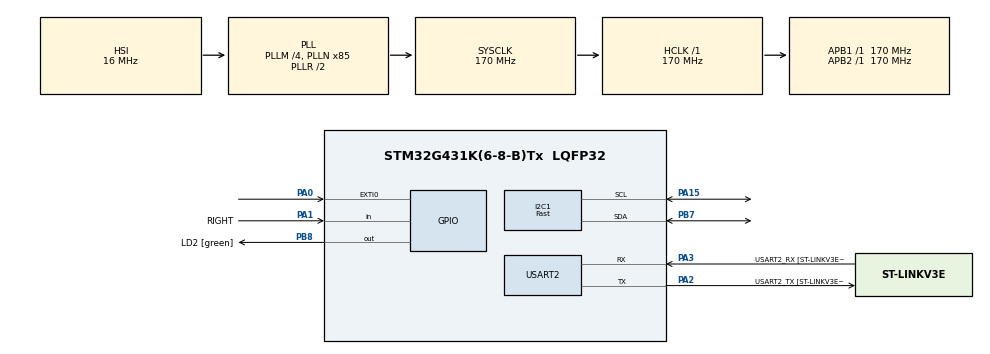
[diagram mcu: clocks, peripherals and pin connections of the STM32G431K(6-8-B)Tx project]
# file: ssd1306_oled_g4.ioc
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I2C1.I2C_Speed_Mode=I2C_Fast
I2C1.Timing=0x10802D9B
Mcu.Family=STM32G4
Mcu.Name=STM32G431K(6-8-B)Tx
Mcu.Package=LQFP32
NVIC.PriorityGroup=NVIC_PRIORITYGROUP_4
NVIC.TIM2_IRQn=true\:0\:0\:false\:false\:true\:true\:true\:true
NVIC.USART2_IRQn=true\:0\:0\:false\:false\:true\:true\:true\:true
PA0.GPIO_ModeDefaultEXTI=GPIO_MODE_IT_FALLING
PA0.GPIO_PuPd=GPIO_PULLUP
PA0.Signal=GPXTI0
PA1.GPIO_Label=RIGHT
PA1.GPIO_PuPd=GPIO_PULLUP
PA1.Signal=GPIO_Input
PA13.GPIO_Label=T_SWDIO
PA13.Mode=Serial_Wire
PA13.Signal=SYS_JTMS-SWDIO
PA14.GPIO_Label=T_SWCLK
PA14.Mode=Serial_Wire
PA14.Signal=SYS_JTCK-SWCLK
PA15.Mode=I2C
PA15.Signal=I2C1_SCL
PA2.GPIO_Label=USART2_TX [ST-LINKV3E_VCP_RX]
PA2.Mode=Asynchronous
PA2.Signal=USART2_TX
PA3.GPIO_Label=USART2_RX [ST-LINKV3E_VCP_TX]
PA3.Mode=Asynchronous
PA3.Signal=USART2_RX
PB3.GPIO_Label=T_SWO
PB3.Signal=SYS_JTDO-SWO
PB7.Mode=I2C
PB7.Signal=I2C1_SDA
PB8-BOOT0.GPIO_Label=LD2 [green]
PB8-BOOT0.Signal=GPIO_Output
ProjectManager.HeapSize=0x200
ProjectManager.StackSize=0x400
ProjectManager.TargetToolchain=STM32CubeIDE
RCC.ADC12Freq_Value=170000000
RCC.AHBFreq_Value=170000000
RCC.APB1Freq_Value=170000000
RCC.APB1TimFreq_Value=170000000
RCC.APB2Freq_Value=170000000
RCC.APB2TimFreq_Value=170000000
RCC.CortexFreq_Value=170000000
RCC.EXTERNAL_CLOCK_VALUE=12288000
RCC.HCLKFreq_Value=170000000
RCC.HSE_VALUE=8000000
RCC.HSI48_VALUE=48000000
RCC.HSI_VALUE=16000000
RCC.LSE_VALUE=32768
RCC.PLLM=RCC_PLLM_DIV4
RCC.PLLN=85
RCC.SYSCLKFreq_VALUE=170000000
RCC.SYSCLKSource=RCC_SYSCLKSOURCE_PLLCLK
RCC.USBFreq_Value=170000000
RCC.VCOOutputFreq_Value=340000000
TIM2.PeriodNoDither=9999
TIM2.Prescaler=169
USART2.VirtualMode-Asynchronous=VM_ASYNC
USART2.WordLength=WORDLENGTH_8B
VP_SYS_VS_DBSignals.Mode=DisableDeadBatterySignals
VP_TIM2_VS_ClockSourceINT.Mode=Internal
board=NUCLEO-G431KB

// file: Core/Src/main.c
/* USER CODE BEGIN Header */
/**
  ******************************************************************************
  * @file           : main.c
  * @brief          : Main program body
  ******************************************************************************
  * @attention
  *
  * Copyright (c) 2024 STMicroelectronics.
  * All rights reserved.
  *
  * This software is licensed under terms that can be found in the LICENSE file
  * in the root directory of this software component.
  * If no LICENSE file comes with this software, it is provided AS-IS.
  *
  ******************************************************************************
  */
/* USER CODE END Header */
#include "main.h"

/* USER CODE BEGIN Includes */
#include "ssd1306/ssd1306.h"
#include "ssd1306/fonts.h"
#include "ssd1306/test.h"
#include "games/flappybird.h"
#include <stdio.h>

//#include "dht22/dht22.h"
#include "string.h"
#include "stdio.h"
/* USER CODE END Includes */

I2C_HandleTypeDef hi2c1;

TIM_HandleTypeDef htim2;

UART_HandleTypeDef huart2;

/* USER CODE BEGIN PV */
volatile uint32_t seconds = 0;
volatile uint32_t minutes = 0;
volatile uint32_t hours = 0;
/* USER CODE END PV */

void SystemClock_Config(void);
static void MX_GPIO_Init(void);
static void MX_USART2_UART_Init(void);
static void MX_I2C1_Init(void);
static void MX_TIM2_Init(void);

/* USER CODE BEGIN 0 */
void SSD1306_Puts_Num(int num){
	char number[]="";

//	  int i = 247593;
//	  char str[10];

	  sprintf(number, "%d", num);
	  SSD1306_Puts(number,&Font_7x10,1);

}

void HAL_TIM_PeriodElapsedCallback(TIM_HandleTypeDef *htim) {
    if (htim->Instance == TIM2) {
        seconds++;
        if (seconds >= 60) {
            seconds = 0;
            minutes++;
            if (minutes >= 60) {
                minutes = 0;
                hours++;
                if (hours >= 24) {
                    hours = 0;
                }
            }
        }
    }
}
/* USER CODE END 0 */

int main(void)
{

  /* MCU Configuration--------------------------------------------------------*/

  /* Reset of all peripherals, Initializes the Flash interface and the Systick. */
  HAL_Init();

  /* Configure the system clock */
  SystemClock_Config();

  /* Initialize all configured peripherals */
  MX_GPIO_Init();
  MX_USART2_UART_Init();
  MX_I2C1_Init();
  MX_TIM2_Init();
  /* USER CODE BEGIN 2 */
  SSD1306_Init (); // initialize the display
  char msg[] ="I l";
  SSD1306_GotoXY (37,0); // goto 10, 10 //x and y axis of the display
  SSD1306_Puts ("HELLO", &Font_11x18, 1); // print Hello
  SSD1306_GotoXY (0, 25);
  SSD1306_Puts (msg, &Font_7x10, 1);
  SSD1306_UpdateScreen(); // update screen
  int count=0;

  // Seed the random number generator
 // srand(time(NULL));

  // Initialize the Flappy Bird game
  //FlappyBird_Init();

  /* USER CODE END 2 */

  /* Infinite loop */
  while (1)
  {

    /* USER CODE BEGIN 3 */

	  SSD1306_GotoXY (20, 0);
	  SSD1306_Puts_Num(hours);
	  SSD1306_GotoXY (40, 0);
	  SSD1306_Puts_Num(minutes);
	  SSD1306_GotoXY (60, 0);
	  SSD1306_Puts_Num(seconds);
//	  for(int i=0; i<19; i++)
//	  {
//		 // SSD1306_UpdateScreen(); // update screen
//		  SSD1306_GotoXY (10*i, 25);
//		  SSD1306_Putc(msg[i], &Font_7x10, 1);
//		  SSD1306_UpdateScreen(); // update screen
////		  SSD1306_GotoXY (50, 45);
////		  SSD1306_Puts_Num(i);
////		  SSD1306_UpdateScreen(); // update screen
//		  HAL_Delay(1000);
//	  }
if(!HAL_GPIO_ReadPin(RIGHT_GPIO_Port, RIGHT_Pin))
{
	SSD1306_GotoXY (50, 45);
	count++;
	SSD1306_GotoXY (50, 45);
	SSD1306_Puts_Num(count);
	SSD1306_UpdateScreen(); // update screen
}
  }
  /* USER CODE END 3 */
}

void SystemClock_Config(void)
{
  RCC_OscInitTypeDef RCC_OscInitStruct = {0};
  RCC_ClkInitTypeDef RCC_ClkInitStruct = {0};

  /** Configure the main internal regulator output voltage
  */
  HAL_PWREx_ControlVoltageScaling(PWR_REGULATOR_VOLTAGE_SCALE1_BOOST);

  /** Initializes the RCC Oscillators according to the specified parameters
  * in the RCC_OscInitTypeDef structure.
  */
  RCC_OscInitStruct.OscillatorType = RCC_OSCILLATORTYPE_HSI;
  RCC_OscInitStruct.HSIState = RCC_HSI_ON;
  RCC_OscInitStruct.HSICalibrationValue = RCC_HSICALIBRATION_DEFAULT;
  RCC_OscInitStruct.PLL.PLLState = RCC_PLL_ON;
  RCC_OscInitStruct.PLL.PLLSource = RCC_PLLSOURCE_HSI;
  RCC_OscInitStruct.PLL.PLLM = RCC_PLLM_DIV4;
  RCC_OscInitStruct.PLL.PLLN = 85;
  RCC_OscInitStruct.PLL.PLLP = RCC_PLLP_DIV2;
  RCC_OscInitStruct.PLL.PLLQ = RCC_PLLQ_DIV2;
  RCC_OscInitStruct.PLL.PLLR = RCC_PLLR_DIV2;
  if (HAL_RCC_OscConfig(&RCC_OscInitStruct) != HAL_OK)
  {
    Error_Handler();
  }

  /** Initializes the CPU, AHB and APB buses clocks
  */
  RCC_ClkInitStruct.ClockType = RCC_CLOCKTYPE_HCLK|RCC_CLOCKTYPE_SYSCLK
                              |RCC_CLOCKTYPE_PCLK1|RCC_CLOCKTYPE_PCLK2;
  RCC_ClkInitStruct.SYSCLKSource = RCC_SYSCLKSOURCE_PLLCLK;
  RCC_ClkInitStruct.AHBCLKDivider = RCC_SYSCLK_DIV1;
  RCC_ClkInitStruct.APB1CLKDivider = RCC_HCLK_DIV1;
  RCC_ClkInitStruct.APB2CLKDivider = RCC_HCLK_DIV1;

  if (HAL_RCC_ClockConfig(&RCC_ClkInitStruct, FLASH_LATENCY_4) != HAL_OK)
  {
    Error_Handler();
  }
}

static void MX_I2C1_Init(void)
{

  hi2c1.Instance = I2C1;
  hi2c1.Init.Timing = 0x10802D9B;
  hi2c1.Init.OwnAddress1 = 0;
  hi2c1.Init.AddressingMode = I2C_ADDRESSINGMODE_7BIT;
  hi2c1.Init.DualAddressMode = I2C_DUALADDRESS_DISABLE;
  hi2c1.Init.OwnAddress2 = 0;
  hi2c1.Init.OwnAddress2Masks = I2C_OA2_NOMASK;
  hi2c1.Init.GeneralCallMode = I2C_GENERALCALL_DISABLE;
  hi2c1.Init.NoStretchMode = I2C_NOSTRETCH_DISABLE;
  if (HAL_I2C_Init(&hi2c1) != HAL_OK)
  {
    Error_Handler();
  }

  /** Configure Analogue filter
  */
  if (HAL_I2CEx_ConfigAnalogFilter(&hi2c1, I2C_ANALOGFILTER_ENABLE) != HAL_OK)
  {
    Error_Handler();
  }

  /** Configure Digital filter
  */
  if (HAL_I2CEx_ConfigDigitalFilter(&hi2c1, 0) != HAL_OK)
  {
    Error_Handler();
  }

}

static void MX_TIM2_Init(void)
{

  TIM_ClockConfigTypeDef sClockSourceConfig = {0};
  TIM_MasterConfigTypeDef sMasterConfig = {0};

  htim2.Instance = TIM2;
  htim2.Init.Prescaler = 169;
  htim2.Init.CounterMode = TIM_COUNTERMODE_UP;
  htim2.Init.Period = 9999;
  htim2.Init.ClockDivision = TIM_CLOCKDIVISION_DIV1;
  htim2.Init.AutoReloadPreload = TIM_AUTORELOAD_PRELOAD_DISABLE;
  if (HAL_TIM_Base_Init(&htim2) != HAL_OK)
  {
    Error_Handler();
  }
  sClockSourceConfig.ClockSource = TIM_CLOCKSOURCE_INTERNAL;
  if (HAL_TIM_ConfigClockSource(&htim2, &sClockSourceConfig) != HAL_OK)
  {
    Error_Handler();
  }
  sMasterConfig.MasterOutputTrigger = TIM_TRGO_RESET;
  sMasterConfig.MasterSlaveMode = TIM_MASTERSLAVEMODE_DISABLE;
  if (HAL_TIMEx_MasterConfigSynchronization(&htim2, &sMasterConfig) != HAL_OK)
  {
    Error_Handler();
  }

}

static void MX_USART2_UART_Init(void)
{

  huart2.Instance = USART2;
  huart2.Init.BaudRate = 115200;
  huart2.Init.WordLength = UART_WORDLENGTH_8B;
  huart2.Init.StopBits = UART_STOPBITS_1;
  huart2.Init.Parity = UART_PARITY_NONE;
  huart2.Init.Mode = UART_MODE_TX_RX;
  huart2.Init.HwFlowCtl = UART_HWCONTROL_NONE;
  huart2.Init.OverSampling = UART_OVERSAMPLING_16;
  huart2.Init.OneBitSampling = UART_ONE_BIT_SAMPLE_DISABLE;
  huart2.Init.ClockPrescaler = UART_PRESCALER_DIV1;
  huart2.AdvancedInit.AdvFeatureInit = UART_ADVFEATURE_NO_INIT;
  if (HAL_UART_Init(&huart2) != HAL_OK)
  {
    Error_Handler();
  }
  if (HAL_UARTEx_SetTxFifoThreshold(&huart2, UART_TXFIFO_THRESHOLD_1_8) != HAL_OK)
  {
    Error_Handler();
  }
  if (HAL_UARTEx_SetRxFifoThreshold(&huart2, UART_RXFIFO_THRESHOLD_1_8) != HAL_OK)
  {
    Error_Handler();
  }
  if (HAL_UARTEx_DisableFifoMode(&huart2) != HAL_OK)
  {
    Error_Handler();
  }

}

static void MX_GPIO_Init(void)
{
  GPIO_InitTypeDef GPIO_InitStruct = {0};

  /* GPIO Ports Clock Enable */
  __HAL_RCC_GPIOA_CLK_ENABLE();
  __HAL_RCC_GPIOB_CLK_ENABLE();

  /*Configure GPIO pin Output Level */
  HAL_GPIO_WritePin(LD2_GPIO_Port, LD2_Pin, GPIO_PIN_RESET);

  /*Configure GPIO pin : PA0 */
  GPIO_InitStruct.Pin = GPIO_PIN_0;
  GPIO_InitStruct.Mode = GPIO_MODE_IT_FALLING;
  GPIO_InitStruct.Pull = GPIO_PULLUP;
  HAL_GPIO_Init(GPIOA, &GPIO_InitStruct);

  /*Configure GPIO pin : RIGHT_Pin */
  GPIO_InitStruct.Pin = RIGHT_Pin;
  GPIO_InitStruct.Mode = GPIO_MODE_INPUT;
  GPIO_InitStruct.Pull = GPIO_PULLUP;
  HAL_GPIO_Init(RIGHT_GPIO_Port, &GPIO_InitStruct);

  /*Configure GPIO pin : LD2_Pin */
  GPIO_InitStruct.Pin = LD2_Pin;
  GPIO_InitStruct.Mode = GPIO_MODE_OUTPUT_PP;
  GPIO_InitStruct.Pull = GPIO_NOPULL;
  GPIO_InitStruct.Speed = GPIO_SPEED_FREQ_LOW;
  HAL_GPIO_Init(LD2_GPIO_Port, &GPIO_InitStruct);

}

void Error_Handler(void)
{
  __disable_irq();
  while (1)
  {
  }
}
